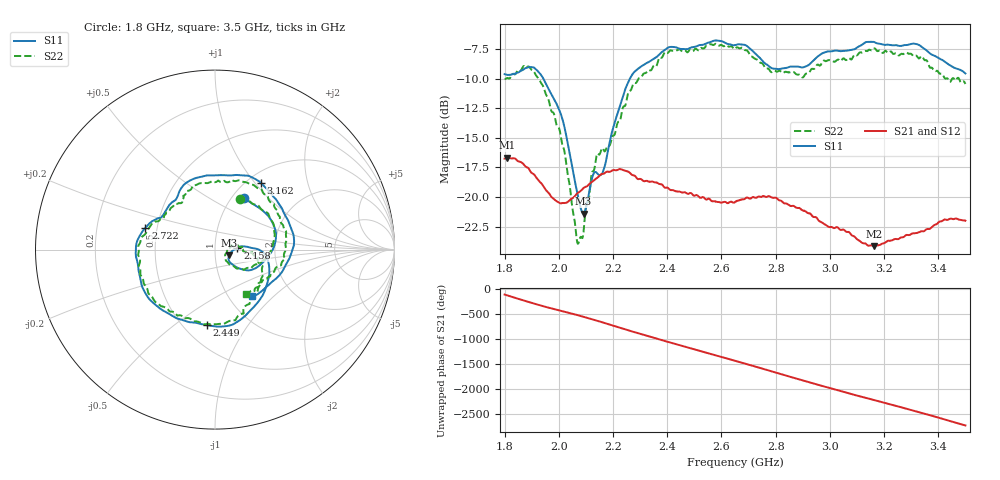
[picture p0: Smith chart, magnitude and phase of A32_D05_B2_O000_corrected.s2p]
! Created with skrf 1.9.0 (http://scikit-rf.org).
# Hz S RI R 50.0
!freq ReS11 ImS11 ReS21 ImS21 ReS12 ImS12 ReS22 ImS22
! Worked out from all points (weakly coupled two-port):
!   1601 points, 1.8 GHz to 3.5 GHz, reference 50 ohm
!   highest |S21| = -16.68 dB at 1.811 GHz (marker M1); lowest = -24.2 dB at 3.164 GHz (marker M2)
!   lowest |S11| = -21.4 dB at 2.091 GHz (marker M3), VSWR 1.19, Z = 58.4 - j3.8 ohm
!   |S11| at or under -10 dB: 1.943 GHz to 2.262 GHz (319.2 MHz wide, 15.2 % of centre)
!   |S22| runs from -24.0 to -7.1 dB; largest |S21 - S12| = 0.0026
!   S11 on the Smith chart (normalised r, x): 1.8 GHz: 1.13, +0.73; 2.158 GHz: 1.28, +0.02; 2.449 GHz: 0.65, -0.66; 2.722 GHz: 0.43, +0.12; 3.162 GHz: 1.15, +1.08; 3.5 GHz: 1.28, -0.75
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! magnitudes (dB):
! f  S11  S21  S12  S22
! 1.8 GHz  -9.6  -16.8  -16.8  -10.0
! 1.811 GHz  -9.7  -16.7  -16.7  -9.9
! 1.886 GHz  -9.0  -17.5  -17.6  -9.0
! 1.94 GHz  -9.9  -19.0  -19.0  -10.6
! 2.013 GHz  -13.4  -20.5  -20.5  -15.5
! 2.066 GHz  -19.4  -19.7  -19.8  -23.5
! 2.084 GHz  -21.2  -19.4  -19.4  -23.4
! 2.091 GHz  -21.4  -19.2  -19.3  -23.0
! 2.125 GHz  -18.2  -18.7  -18.7  -17.8
! 2.158 GHz  -18.1  -18.1  -18.0  -15.9
! 2.259 GHz  -10.2  -17.9  -17.9  -11.1
! 2.367 GHz  -8.0  -18.9  -18.8  -8.4
! 2.449 GHz  -7.5  -19.6  -19.6  -7.6
! 2.65 GHz  -7.2  -20.4  -20.4  -7.5
! 2.722 GHz  -7.8  -20.0  -20.0  -8.3
! 2.796 GHz  -9.2  -20.1  -20.0  -9.3
! 2.934 GHz  -8.6  -21.6  -21.5  -9.2
! 3.162 GHz  -6.9  -24.2  -24.1  -7.5
! 3.164 GHz  -6.9  -24.2  -24.1  -7.4
! 3.217 GHz  -7.1  -23.7  -23.7  -7.8
! 3.324 GHz  -7.1  -23.0  -23.0  -8.2
! 3.5 GHz  -9.6  -22.0  -22.0  -10.4
